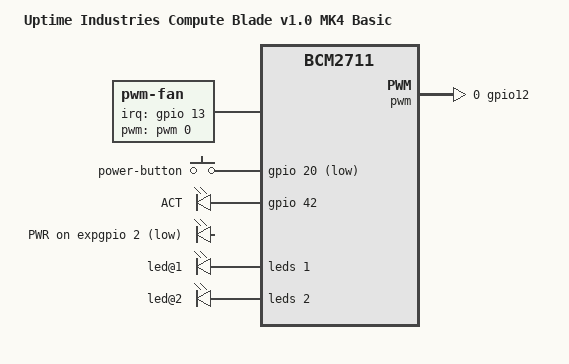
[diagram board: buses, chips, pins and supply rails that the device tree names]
/dts-v1/;

#include <dt-bindings/leds/common.h>
#include <dt-bindings/interrupt-controller/irq.h>
#include <dt-bindings/input/linux-event-codes.h>
#include <dt-bindings/gpio/gpio.h>
#include "bcm2711-rpi-cm4.dtsi"
#include "bcm283x-rpi-usb-host.dtsi"

/ {
	model = "Uptime Industries Compute Blade v1.0 MK4 Basic";
	compatible =
		"uptime,compute-blade",
		"raspberrypi,4-compute-module",
		"brcm,bcm2711";

	fan: fan {
		compatible = "pwm-fan";
		pwms = <&pwm 0 40000 0>;
		pinctrl-names = "default";
		pinctrl-0 = <&fan_tach_pullup>;
		pulses-per-revolution = <2>;
		interrupt-parent = <&gpio>;
		interrupts = <13 IRQ_TYPE_EDGE_FALLING>;
		#cooling-cells = <2>;
		cooling-levels = <0 64 128 192 255>;
		status = "okay";
	};

	keys {
		compatible = "gpio-keys";
		pinctrl-names = "default";
		pinctrl-0 = <&keys_pullup>;
		status = "okay";

		key-power {
			label = "power-button";
			linux,code = <KEY_POWER>;
			gpios = <&gpio 20 GPIO_ACTIVE_LOW>;
			debounce-interval = <100>;
		};
	};

	leds {
		compatible = "gpio-leds";

		led-act {
			label = "ACT";
			gpios = <&gpio 42 GPIO_ACTIVE_HIGH>;
			default-state = "keep";
			linux,default-trigger = "heartbeat";
		};

		led-pwr {
			label = "PWR";
			gpios = <&expgpio 2 GPIO_ACTIVE_LOW>;
			default-state = "keep";
			linux,default-trigger = "default-on";
		};
	};
};

&gpio {
	fan_tach_pullup: fan-tach-pullup {
		pin-tach {
			pins = "gpio13";
			function = "gpio_in";
			bias-pull-up;
		};
	};

	keys_pullup: keys-pullup {
		pin-key-power {
			pins = "gpio20";
			function = "gpio_in";
			bias-pull-up;
		};
	};
};

&pwm {
	status = "okay";
	assigned-clock-rates = <50000000>;
	pinctrl-names = "default";
	pinctrl-0 = <&pwm0_0_gpio12>;
};

&cpu_thermal {
	trips {
		fan_high: fan-high {
			temperature = <75000>;
			hysteresis = <5000>;
			type = "active";
		};

		fan_mid: fan-mid {
			temperature = <65000>;
			hysteresis = <5000>;
			type = "active";
		};

		fan_low: fan-low {
			temperature = <55000>;
			hysteresis = <5000>;
			type = "active";
		};

		fan_idle: fan-idle {
			temperature = <0>;
			hysteresis = <0>;
			type = "active";
		};
	};

	cooling-maps {
		map-idle {
			trip = <&fan_idle>;
			cooling-device = <&fan 1 1>;
		};

		map-low {
			trip = <&fan_low>;
			cooling-device = <&fan 1 2>;
		};

		map-mid {
			trip = <&fan_mid>;
			cooling-device = <&fan 2 3>;
		};

		map-high {
			trip = <&fan_high>;
			cooling-device = <&fan 3 4>;
		};
	};
};

&phy1 {
	leds {
		#address-cells = <1>;
		#size-cells = <0>;

		led@1 {
			reg = <1>;
			color = <LED_COLOR_ID_GREEN>;
			function = LED_FUNCTION_LAN;
			default-state = "keep";
		};

		led@2 {
			reg = <2>;
			color = <LED_COLOR_ID_AMBER>;
			function = LED_FUNCTION_LAN;
			default-state = "keep";
		};
	};
};

&uart0 { status = "disabled"; };
&sdhci { status = "disabled"; };
&v3d { status = "disabled"; };
&vc4 { status = "disabled"; };
&vchiq { status = "disabled"; };
&vec  { status = "disabled"; };
